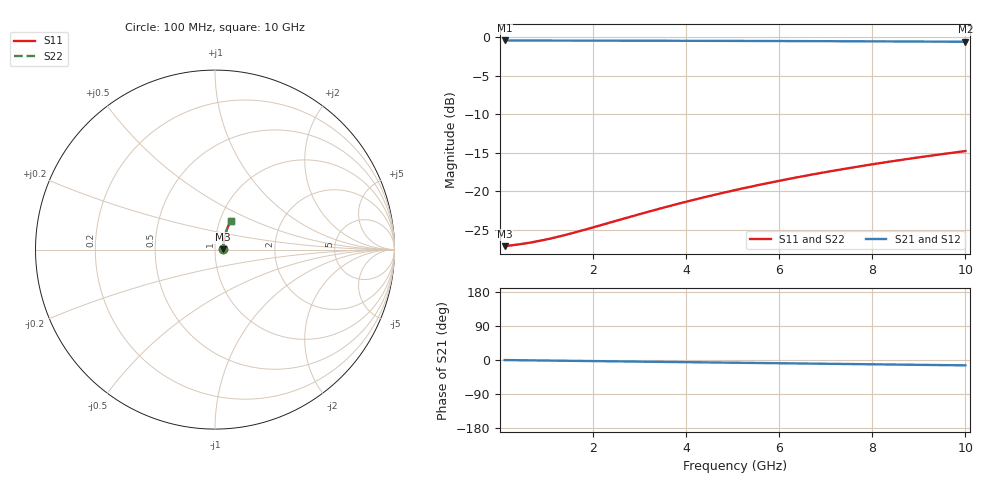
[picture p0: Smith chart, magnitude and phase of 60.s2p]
# Hz S RI R 50.00
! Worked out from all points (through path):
!   100 points, 100 MHz to 10 GHz, reference 50 ohm
!   highest |S21| = -0.39 dB at 100 MHz (marker M1); lowest = -0.6 dB at 10 GHz (marker M2)
!   group delay of S21, straight-line fit = 3.93 ps
!   lowest |S11| = -27.1 dB at 100 MHz (marker M3), VSWR 1.09, Z = 54.6 + j0.186 ohm
!   |S11| at or under -10 dB: start of sweep to end of sweep
!   |S22| runs from -27.1 to -14.8 dB; largest |S21 - S12| = 0
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1e8  0.0439 0.0017  0.9561 -0.00239  0.9561 -0.00239  0.0439 0.0017
5e8  0.0448 0.00847  0.9552 -0.0119  0.9552 -0.0119  0.0448 0.00847
7e8  0.0451 0.0119  0.9548 -0.0167  0.9548 -0.0167  0.0451 0.0119
9e8  0.0455 0.0152  0.9545 -0.0214  0.9545 -0.0214  0.0455 0.0152
1.1e9  0.0458 0.0186  0.9542 -0.0262  0.9542 -0.0262  0.0458 0.0186
1.3e9  0.0461 0.022  0.9538 -0.0309  0.9538 -0.0309  0.0461 0.022
1.5e9  0.0465 0.0253  0.9535 -0.0356  0.9535 -0.0356  0.0465 0.0253
1.8e9  0.0471 0.0304  0.9529 -0.0427  0.9529 -0.0427  0.0471 0.0304
2.9e9  0.0497 0.0487  0.9501 -0.0687  0.9501 -0.0687  0.0497 0.0487
3.4e9  0.0512 0.057  0.9485 -0.0804  0.9485 -0.0804  0.0512 0.057
3.9e9  0.0528 0.0653  0.9468 -0.0921  0.9468 -0.0921  0.0528 0.0653
4.3e9  0.0543 0.0718  0.9452 -0.1014  0.9452 -0.1014  0.0543 0.0718
4.7e9  0.0559 0.0784  0.9436 -0.1107  0.9436 -0.1107  0.0559 0.0784
5.1e9  0.0576 0.0848  0.9418 -0.1199  0.9418 -0.1199  0.0576 0.0848
5.5e9  0.0594 0.0913  0.9398 -0.1291  0.9398 -0.1291  0.0594 0.0913
5.9e9  0.0614 0.0977  0.9377 -0.1383  0.9377 -0.1383  0.0614 0.0977
6.3e9  0.0634 0.104  0.9356 -0.1474  0.9356 -0.1474  0.0634 0.104
6.7e9  0.0656 0.1103  0.9332 -0.1564  0.9332 -0.1564  0.0656 0.1103
7.5e9  0.0704 0.1227  0.9282 -0.1744  0.9282 -0.1744  0.0704 0.1227
8.4e9  0.0763 0.1364  0.922 -0.1943  0.922 -0.1943  0.0763 0.1364
9.2e9  0.082 0.1483  0.9159 -0.2117  0.9159 -0.2117  0.082 0.1483
1e10  0.0881 0.1599  0.9094 -0.2288  0.9094 -0.2288  0.0881 0.1599
